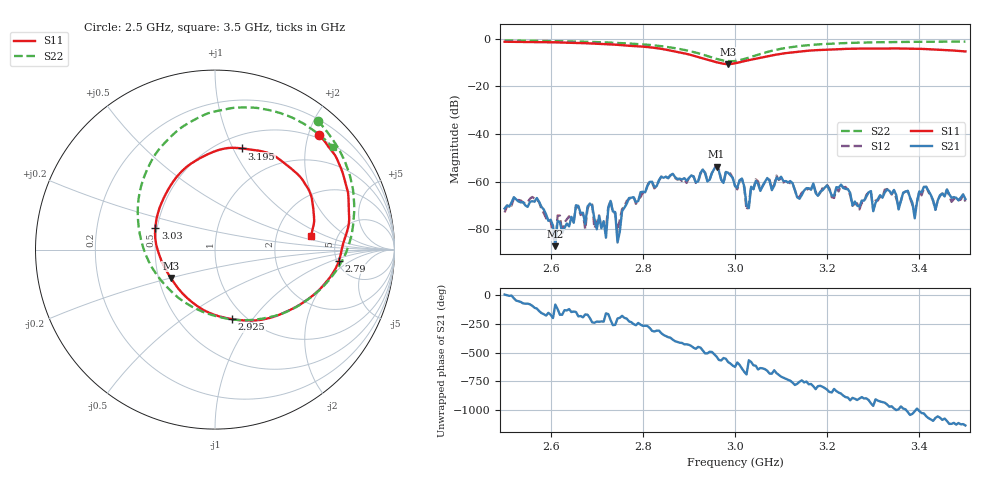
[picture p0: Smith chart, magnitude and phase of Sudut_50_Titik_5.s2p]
# Hz S RI R 50
! CMT, C1220, 16058040, 17.2.0/1
! Date: 15/08/2018 10:23:18
! Data: Format (Calibration Info)
! Freq  S11: Re/Im (F2)  S21: Re/Im (F2)  S12: Re/Im (F2)  S22: Re/Im (F2)
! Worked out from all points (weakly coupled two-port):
!   201 points, 2.5 GHz to 3.5 GHz, reference 50 ohm
!   highest |S21| = -53.78 dB at 2.96 GHz (marker M1); lowest = -87.1 dB at 2.61 GHz (marker M2)
!   lowest |S11| = -10.7 dB at 2.985 GHz (marker M3), VSWR 1.83, Z = 29 - j9.98 ohm
!   |S11| at or under -10 dB: 2.962 GHz to 3.008 GHz (45.61 MHz wide, 1.53 % of centre)
!   |S22| runs from -9.5 to -0.7 dB; largest |S21 - S12| = 0.00019
!   S11 on the Smith chart (normalised r, x): 2.5 GHz: 0.44, +2.19; 2.79 GHz: 5.22, -1.23; 2.925 GHz: 0.86, -0.80; 3.03 GHz: 0.49, +0.13; 3.195 GHz: 0.63, +1.08; 3.5 GHz: 3.19, +0.67
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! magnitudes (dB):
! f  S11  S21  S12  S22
! 2.5 GHz  -1.3  -71.3  -73.0  -0.7
! 2.56 GHz  -1.4  -68.3  -66.5  -0.9
! 2.61 GHz  -1.5  -87.1  -86.7  -1.0
! 2.67 GHz  -1.9  -73.1  -73.4  -1.3
! 2.72 GHz  -2.3  -83.6  -79.4  -1.6
! 2.73 GHz  -2.4  -68.1  -67.9  -1.6
! 2.745 GHz  -2.6  -85.6  -81.1  -1.8
! 2.79 GHz  -3.2  -68.2  -67.5  -2.3
! 2.835 GHz  -4.1  -59.4  -59.7  -3.0
! 2.925 GHz  -8.0  -56.4  -56.8  -6.4
! 2.96 GHz  -9.9  -53.8  -53.3  -8.5
! 2.985 GHz  -10.7  -56.3  -55.9  -9.4
! 3 GHz  -10.3  -61.8  -61.8  -9.4
! 3.03 GHz  -9.0  -71.2  -69.5  -8.0
! 3.045 GHz  -8.5  -59.8  -59.1  -7.0
! 3.17 GHz  -4.9  -60.8  -60.9  -2.5
! 3.195 GHz  -4.7  -62.5  -62.3  -2.2
! 3.3 GHz  -4.2  -72.5  -71.8  -1.5
! 3.335 GHz  -4.1  -63.9  -63.9  -1.4
! 3.39 GHz  -4.2  -75.5  -72.6  -1.3
! 3.41 GHz  -4.3  -62.2  -62.9  -1.3
! 3.5 GHz  -5.4  -67.3  -68.4  -1.2
